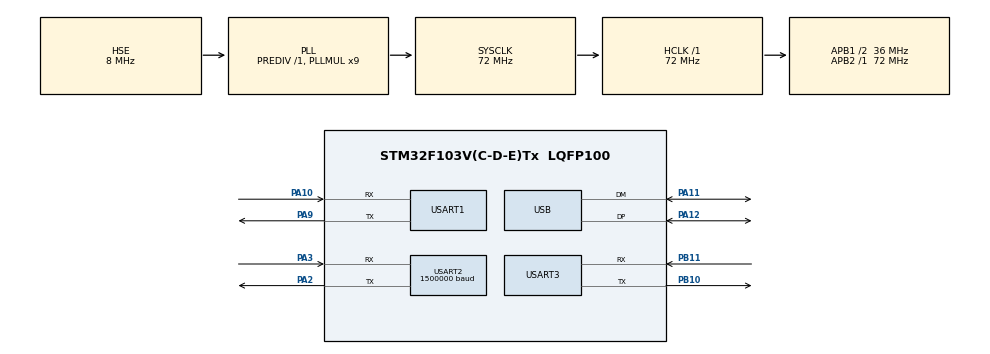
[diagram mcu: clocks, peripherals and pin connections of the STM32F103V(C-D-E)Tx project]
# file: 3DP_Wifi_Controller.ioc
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Dma.Request0=USART1_TX
Dma.Request1=USART1_RX
Dma.Request2=USART2_RX
Dma.USART1_RX.1.Direction=DMA_PERIPH_TO_MEMORY
Dma.USART1_RX.1.Instance=DMA1_Channel5
Dma.USART1_RX.1.MemDataAlignment=DMA_MDATAALIGN_BYTE
Dma.USART1_RX.1.MemInc=DMA_MINC_ENABLE
Dma.USART1_RX.1.Mode=DMA_NORMAL
Dma.USART1_RX.1.PeriphDataAlignment=DMA_PDATAALIGN_BYTE
Dma.USART1_RX.1.PeriphInc=DMA_PINC_DISABLE
Dma.USART1_RX.1.Priority=DMA_PRIORITY_HIGH
Dma.USART1_TX.0.Direction=DMA_MEMORY_TO_PERIPH
Dma.USART1_TX.0.Instance=DMA1_Channel4
Dma.USART1_TX.0.MemDataAlignment=DMA_MDATAALIGN_BYTE
Dma.USART1_TX.0.MemInc=DMA_MINC_ENABLE
Dma.USART1_TX.0.Mode=DMA_NORMAL
Dma.USART1_TX.0.PeriphDataAlignment=DMA_PDATAALIGN_BYTE
Dma.USART1_TX.0.PeriphInc=DMA_PINC_DISABLE
Dma.USART1_TX.0.Priority=DMA_PRIORITY_MEDIUM
Dma.USART2_RX.2.Direction=DMA_PERIPH_TO_MEMORY
Dma.USART2_RX.2.Instance=DMA1_Channel6
Dma.USART2_RX.2.MemDataAlignment=DMA_MDATAALIGN_BYTE
Dma.USART2_RX.2.MemInc=DMA_MINC_ENABLE
Dma.USART2_RX.2.Mode=DMA_NORMAL
Dma.USART2_RX.2.PeriphDataAlignment=DMA_PDATAALIGN_BYTE
Dma.USART2_RX.2.PeriphInc=DMA_PINC_DISABLE
Dma.USART2_RX.2.Priority=DMA_PRIORITY_HIGH
FREERTOS.Tasks01=defaultTask,24,128,StartDefaultTask,Default,NULL,Dynamic,NULL,NULL
FREERTOS.configENABLE_FPU=1
Mcu.Family=STM32F1
Mcu.Name=STM32F103V(C-D-E)Tx
Mcu.Package=LQFP100
NVIC.DMA1_Channel4_IRQn=true\:5\:0\:false\:false\:true\:true\:false\:true\:true
NVIC.DMA1_Channel5_IRQn=true\:5\:0\:false\:false\:true\:true\:false\:true\:true
NVIC.DMA1_Channel6_IRQn=true\:5\:0\:false\:false\:true\:true\:false\:true\:true
NVIC.PriorityGroup=NVIC_PRIORITYGROUP_4
NVIC.USART1_IRQn=true\:5\:0\:false\:false\:true\:true\:false\:true\:true
NVIC.USART2_IRQn=true\:5\:0\:false\:false\:true\:true\:true\:true\:true
OSC_IN.Mode=HSE-External-Oscillator
OSC_IN.Signal=RCC_OSC_IN
OSC_OUT.Mode=HSE-External-Oscillator
OSC_OUT.Signal=RCC_OSC_OUT
PA10.Mode=Asynchronous
PA10.Signal=USART1_RX
PA11.Mode=Device
PA11.Signal=USB_DM
PA12.Mode=Device
PA12.Signal=USB_DP
PA13.Mode=Serial_Wire
PA13.Signal=SYS_JTMS-SWDIO
PA14.Mode=Serial_Wire
PA14.Signal=SYS_JTCK-SWCLK
PA2.Mode=Asynchronous
PA2.Signal=USART2_TX
PA3.Mode=Asynchronous
PA3.Signal=USART2_RX
PA9.Mode=Asynchronous
PA9.Signal=USART1_TX
PB10.Mode=Asynchronous
PB10.Signal=USART3_TX
PB11.Mode=Asynchronous
PB11.Signal=USART3_RX
ProjectManager.HeapSize=0x1200
ProjectManager.StackSize=0x1400
ProjectManager.TargetToolchain=CMake
RCC.AHBFreq_Value=72000000
RCC.APB1CLKDivider=RCC_HCLK_DIV2
RCC.APB1Freq_Value=36000000
RCC.APB1TimFreq_Value=72000000
RCC.APB2Freq_Value=72000000
RCC.APB2TimFreq_Value=72000000
RCC.HCLKFreq_Value=72000000
RCC.PLLMUL=RCC_PLL_MUL9
RCC.PLLSourceVirtual=RCC_PLLSOURCE_HSE
RCC.SYSCLKFreq_VALUE=72000000
RCC.SYSCLKSource=RCC_SYSCLKSOURCE_PLLCLK
RCC.USBFreq_Value=48000000
RCC.USBPrescaler=RCC_USBCLKSOURCE_PLL_DIV1_5
USART1.VirtualMode=VM_ASYNC
USART2.BaudRate=1500000
USART2.VirtualMode=VM_ASYNC
USART3.VirtualMode=VM_ASYNC
VP_FREERTOS_VS_CMSIS_V2.Mode=CMSIS_V2
board=custom

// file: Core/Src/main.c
/* USER CODE BEGIN Header */
/**
 ******************************************************************************
 * @file           : main.c
 * @brief          : Main program body
 ******************************************************************************
 * @attention
 *
 * Copyright (c) 2025 STMicroelectronics.
 * All rights reserved.
 *
 * This software is licensed under terms that can be found in the LICENSE file
 * in the root directory of this software component.
 * If no LICENSE file comes with this software, it is provided AS-IS.
 *
 ******************************************************************************
 */
/* USER CODE END Header */

/*******   HAL LIB   *******/
#include "main.h"
#include "cmsis_os.h"
#include "dma.h"
#include "usart.h"
#include "gpio.h"
#include "stm32f1xx_ll_fsmc.h"

/*******   C LIB   *******/
#include <stdio.h>
#include <string.h>

#include "bsp_led.h"
#include "ff.h"
#include "sdio_test.h"

#include "bsp_xpt2046_lcd.h"
#include "printerController.h"
#include "Fatfs_SDIO.h"
#include "GUI.h"
#include "hx711.h"

void SystemClock_Config(void);
void MX_FREERTOS_Init(void);
uint8_t ILI9341_Read_MADCTL(void);
void Sanitize_SD_Bus(void);

/**
  * @brief  主程式進入點
  * @retval int
  */
int main(void) {
	/*------------BSP HAL INIT------------*/
	HAL_Init();
	SystemClock_Config();
	MX_GPIO_Init();
	MX_DMA_Init();
	MX_USART1_UART_Init();
	MX_USART2_UART_Init();
	MX_USART3_UART_Init();
	__HAL_RCC_CRC_CLK_ENABLE();
	/*------------CUSTOMIZE FUNC INIT------------*/
	LED_GPIO_Config();
	XPT2046_Init();
	PC_init();
	Sanitize_SD_Bus();
	SDIO_FatFs_init();
	GUI_Init();
	printf("%-20s GUI 初始化完成\r\n", "[main.c]");
	/*-----------------RTOS INIT-----------------*/
	osKernelInitialize();
	MX_FREERTOS_Init();
	Uart_Sync_Init();
	osKernelStart();
	while (1) {
	}
}

/* -------------------------------------------------------------------------- */
/* 函式名稱：Sanitize_SD_Bus                                                 */
/* 功能：手動重置 SD 卡匯流排，解除 Busy 鎖死與同步狀態機                      */
/* -------------------------------------------------------------------------- */
void Sanitize_SD_Bus(void)
{
	GPIO_InitTypeDef GPIO_InitStruct = {0};

	__HAL_RCC_SDIO_CLK_DISABLE();
	__HAL_RCC_GPIOC_CLK_ENABLE();
	__HAL_RCC_GPIOD_CLK_ENABLE();

	GPIO_InitStruct.Pin = GPIO_PIN_8 | GPIO_PIN_9 | GPIO_PIN_10 | GPIO_PIN_11 | GPIO_PIN_12;
	GPIO_InitStruct.Mode = GPIO_MODE_OUTPUT_PP;
	GPIO_InitStruct.Pull = GPIO_NOPULL;
	GPIO_InitStruct.Speed = GPIO_SPEED_FREQ_LOW;
	HAL_GPIO_Init(GPIOC, &GPIO_InitStruct);
	GPIO_InitStruct.Pin = GPIO_PIN_2;
	HAL_GPIO_Init(GPIOD, &GPIO_InitStruct);

	HAL_GPIO_WritePin(GPIOD, GPIO_PIN_2, GPIO_PIN_SET); // CMD High
	HAL_GPIO_WritePin(GPIOC, GPIO_PIN_8 | GPIO_PIN_9 | GPIO_PIN_10 | GPIO_PIN_11, GPIO_PIN_SET); // Data High

	for(int i = 0; i < 80; i++)
	{
		HAL_GPIO_WritePin(GPIOC, GPIO_PIN_12, GPIO_PIN_SET);   // CK High
		HAL_Delay(1); // 延遲 1ms，確保頻率極低 (<400kHz)，安全第一
		HAL_GPIO_WritePin(GPIOC, GPIO_PIN_12, GPIO_PIN_RESET); // CK Low
		HAL_Delay(1);
	}
	HAL_GPIO_DeInit(GPIOC, GPIO_PIN_8 | GPIO_PIN_9 | GPIO_PIN_10 | GPIO_PIN_11 | GPIO_PIN_12);
	HAL_GPIO_DeInit(GPIOD, GPIO_PIN_2);
}

/**
  * @brief 系統時鐘設定
  * @retval 無
  */
void SystemClock_Config(void) {
	RCC_OscInitTypeDef RCC_OscInitStruct = {0};
	RCC_ClkInitTypeDef RCC_ClkInitStruct = {0};
	RCC_PeriphCLKInitTypeDef PeriphClkInit = {0};

	RCC_OscInitStruct.OscillatorType = RCC_OSCILLATORTYPE_HSE;
	RCC_OscInitStruct.HSEState = RCC_HSE_ON;
	RCC_OscInitStruct.HSEPredivValue = RCC_HSE_PREDIV_DIV1;
	RCC_OscInitStruct.HSIState = RCC_HSI_ON;
	RCC_OscInitStruct.PLL.PLLState = RCC_PLL_ON;
	RCC_OscInitStruct.PLL.PLLSource = RCC_PLLSOURCE_HSE;
	RCC_OscInitStruct.PLL.PLLMUL = RCC_PLL_MUL9;
	if (HAL_RCC_OscConfig(&RCC_OscInitStruct) != HAL_OK) {
		Error_Handler();
	}

	RCC_ClkInitStruct.ClockType = RCC_CLOCKTYPE_HCLK | RCC_CLOCKTYPE_SYSCLK
	                              | RCC_CLOCKTYPE_PCLK1 | RCC_CLOCKTYPE_PCLK2;
	RCC_ClkInitStruct.SYSCLKSource = RCC_SYSCLKSOURCE_PLLCLK;
	RCC_ClkInitStruct.AHBCLKDivider = RCC_SYSCLK_DIV1;
	RCC_ClkInitStruct.APB1CLKDivider = RCC_HCLK_DIV2;
	RCC_ClkInitStruct.APB2CLKDivider = RCC_HCLK_DIV1;

	if (HAL_RCC_ClockConfig(&RCC_ClkInitStruct, FLASH_LATENCY_2) != HAL_OK) {
		Error_Handler();
	}

	PeriphClkInit.PeriphClockSelection = RCC_PERIPHCLK_USB;
	PeriphClkInit.UsbClockSelection = RCC_USBCLKSOURCE_PLL_DIV1_5;
	if (HAL_RCCEx_PeriphCLKConfig(&PeriphClkInit) != HAL_OK) {
		Error_Handler();
	}
}

/**
  * @brief 錯誤處理函式
  * @retval 無
  */
void Error_Handler(void) {
	__disable_irq();
	printf("fault\r\n<UNK>\r\n");
	while (1) {
	}
}

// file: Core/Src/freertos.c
/* USER CODE BEGIN Header */
/**
  ******************************************************************************
  * File Name          : freertos.c
  * Description        : Code for freertos applications
  ******************************************************************************
  * @attention
  *
  * Copyright (c) 2025 STMicroelectronics.
  * All rights reserved.
  *
  * This software is licensed under terms that can be found in the LICENSE file
  * in the root directory of this software component.
  * If no LICENSE file comes with this software, it is provided AS-IS.
  *
  ******************************************************************************
  */
/* USER CODE END Header */

#include "FreeRTOS.h"
#include "task.h"
#include "main.h"
#include "cmsis_os.h"

/* USER CODE BEGIN Includes */
#include "esp32.h"
#include "UITask.h"
#include "hx711.h"
#include "fileTask.h"
#include "printerController.h"
#include "usart.h"
/* USER CODE END Includes */

/* USER CODE BEGIN Variables */

void init_weight(hx711_t *hx711);
float measure_weight(hx711_t *hx711);

//UI主線程
osThreadId_t UITaskHandle;
const osThreadAttr_t UI_Task_attributes = {
	.name = "UI_Task",
	.stack_size = configMINIMAL_STACK_SIZE * 20,
	.priority = (osPriority) osPriorityAboveNormal,
};

//觸控檢測線程
osThreadId_t TouchTaskHandle;
const osThreadAttr_t Touch_Task_attributes = {
	.name = "Touch_Task",
	.stack_size = configMINIMAL_STACK_SIZE * 4,
	.priority = (osPriority) osPriorityNormal,
};

//esp32 uart解析線程
osThreadId_t esp32RxHandlerTaskHandle;
const osThreadAttr_t esp32RxHandlerTask_attributes = {
	.name = "Esp32_RxTask",
	.stack_size = configMINIMAL_STACK_SIZE * 16,
	.priority = (osPriority) osPriorityHigh,
};

/* USER CODE END Variables */
/* Definitions for defaultTask */
osThreadId_t defaultTaskHandle;
const osThreadAttr_t defaultTask_attributes = {
	.name = "defaultTask",
	.stack_size = configMINIMAL_STACK_SIZE * 10,
	.priority = (osPriority_t) osPriorityNormal,
};

void StartDefaultTask(void *argument);

void MX_FREERTOS_Init(void); /* (MISRA C 2004 rule 8.1) */

void MX_FREERTOS_Init(void) {
	/* USER CODE BEGIN Init */
	// printf("%-20s %-30s free heap: %d bytes\r\n", "[freertos.c]", "rtos initing...", xPortGetFreeHeapSize());
	/* USER CODE END Init */

	/* Create the thread(s) */
	/* creation of defaultTask */
	defaultTaskHandle = osThreadNew(StartDefaultTask, NULL, &defaultTask_attributes);
	/* USER CODE BEGIN RTOS_THREADS */
	UITaskHandle = osThreadNew(GUI_Task, NULL, &UI_Task_attributes);
	TouchTaskHandle = osThreadNew(touchTask, NULL, &Touch_Task_attributes);
	esp32RxHandlerTaskHandle = osThreadNew(ESP32_CmdHandler_Task, NULL, &esp32RxHandlerTask_attributes);
	//任務建立結果檢查
#ifdef DEBUG
	if (defaultTaskHandle == NULL) {
		printf("%-20s defaultTaskHandle created failed!!\r\n", "[freertos.c]");
	}
	if (UITaskHandle == NULL) {
		printf("%-20s UITaskHandle created failed!!\r\n", "[freertos.c]");
	}
	if (TouchTaskHandle == NULL) {
		printf("%-20s TouchTaskHandle created failed!!\r\n", "[freertos.c]");
	}
	if (esp32RxHandlerTaskHandle == NULL) {
		printf("%-20s esp32RxHandlerTaskHandle created failed!!\r\n", "[freertos.c]");
	}
#endif
	/* USER CODE END RTOS_THREADS */

	printf("%-20s %-30s free heap: %d bytes\r\n", "[freertos.c]", "tasks initialized.", xPortGetFreeHeapSize());
}

void StartDefaultTask(void *argument) {
	FileTask_Init(); // 初始化檔案任務佇列
	ESP32_Init();
	Hx711_Init(&hx711);

	// 初始化印表機通訊 (需要在 RTOS 啟動後)
	printerRxSemaphore = xSemaphoreCreateBinary();
	if (printerRxSemaphore == NULL) {
		printf("%-20s Failed to create printerRxSemaphore\r\n", "[freertos.c]");
	}
	__HAL_UART_ENABLE_IT(&huart3, UART_IT_IDLE);

	for (;;) {
		size_t free_heap = xPortGetFreeHeapSize();
		size_t used_heap = configTOTAL_HEAP_SIZE - free_heap;
		uint8_t usage_percent = (used_heap * 100) / configTOTAL_HEAP_SIZE;
		printf("%-20s Heap usage: %u%% (%u / %u bytes)\r\n", "[freertos.c]", usage_percent, (unsigned int) used_heap,
		       (unsigned int) configTOTAL_HEAP_SIZE);
		PC_Param_Polling();
		osDelay(1000);
	}
}

/* USER CODE BEGIN Application */
void vApplicationStackOverflowHook(TaskHandle_t xTask, char *pcTaskName) {
	/* 先打印哪個任務溢出（在禁用中斷之前） */
	printf("%-20s Stack overflow in task: %s\r\n", "[freertos.c]", pcTaskName);

	/* 停用中斷，避免繼續運行造成更大破壞 */
	taskDISABLE_INTERRUPTS();

	/* 可以在這裡打開 LED 快速閃爍作為錯誤提示 */
	// Error_LED_Blink();

	/* 進入死循環，等待看門狗或人工重啟 */
	for (;;);
}

/* USER CODE END Application */
